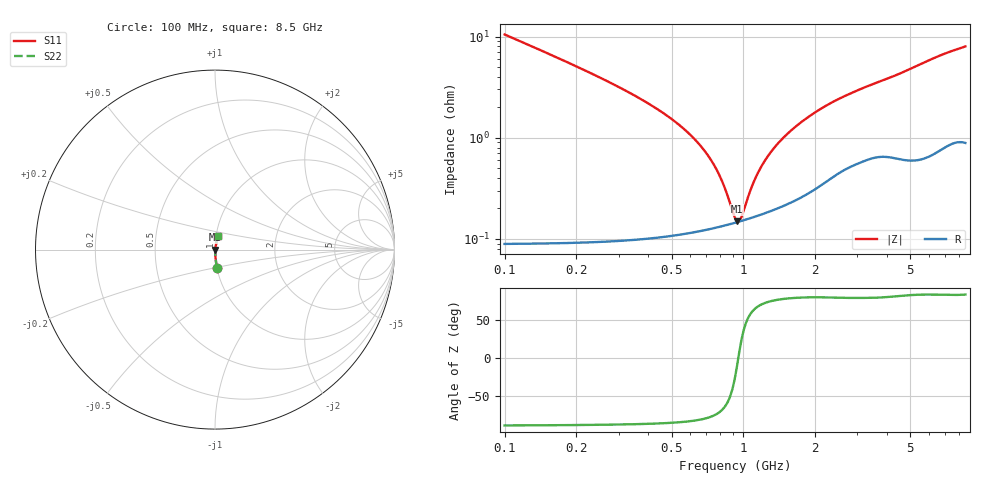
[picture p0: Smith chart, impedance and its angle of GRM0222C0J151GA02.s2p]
!Murata Part Number: GRM0222C0J151GA02
!These Parameters are Measured in Series Mode Connection
!Data Generated on Mar 30, 2021
!  o--ll--o
!Port1  Port2
!  o------o
!Operation Temp=25[degC], DC Bias Voltage=0[V]
!Freq. Start=100[MHz] Stop=9[GHz] 401[Steps]
# Hz S RI R 50
!Freq.(Hz) S11(Real) S11(Imag) S21(Real) S21(Imag) S12(Real) S12(Imag) S22(Real) S22(Imag)
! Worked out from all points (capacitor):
!   401 points, 100 MHz to 8.5 GHz, reference 50 ohm
!   read as one part in series: C = 150 pF near 142 MHz
!   lowest |Z| = 149 mohm at 940 MHz (marker M1)
!   series resonance near 952.3 MHz, so ESL is about 190 pH
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1e8  0.0117 -0.1036  0.9883 0.1036  0.9883 0.1036  0.0117 -0.1036
2.05e8  0.00334 -0.0491  0.9967 0.0491  0.9967 0.0491  0.00334 -0.0491
2.68e8  0.00226 -0.0363  0.9977 0.0363  0.9977 0.0363  0.00226 -0.0363
6.04e8  0.00126 -0.0104  0.9987 0.0104  0.9987 0.0104  0.00126 -0.0104
7.09e8  0.00128 -0.0066  0.9987 0.0066  0.9987 0.0066  0.00128 -0.0066
7.93e8  0.00133 -0.00405  0.9987 0.00405  0.9987 0.00405  0.00133 -0.00405
8.98e8  0.00142 -0.00129  0.9986 0.00129  0.9986 0.00129  0.00142 -0.00129
9.4e8  0.00146 -0.000283  0.9985 0.000283  0.9985 0.000283  0.00146 -0.000283
9.61e8  0.00148 0.000202  0.9985 -0.000202  0.9985 -0.000202  0.00148 0.000202
9.82e8  0.00151 0.000676  0.9985 -0.000676  0.9985 -0.000676  0.00151 0.000676
1.108e9  0.00166 0.00333  0.9983 -0.00333  0.9983 -0.00333  0.00166 0.00333
1.213e9  0.0018 0.00534  0.9982 -0.00534  0.9982 -0.00534  0.0018 0.00534
1.339e9  0.00199 0.00758  0.998 -0.00758  0.998 -0.00758  0.00199 0.00758
1.507e9  0.00227 0.0103  0.9977 -0.0103  0.9977 -0.0103  0.00227 0.0103
1.759e9  0.00279 0.0141  0.9972 -0.0141  0.9972 -0.0141  0.00279 0.0141
2.074e9  0.00362 0.0185  0.9964 -0.0185  0.9964 -0.0185  0.00362 0.0185
2.452e9  0.00482 0.023  0.9952 -0.023  0.9952 -0.023  0.00482 0.023
2.914e9  0.00611 0.0277  0.9939 -0.0277  0.9939 -0.0277  0.00611 0.0277
4.3e9  0.00785 0.04  0.9921 -0.04  0.9921 -0.04  0.00785 0.04
5.707e9  0.00916 0.0543  0.9908 -0.0543  0.9908 -0.0543  0.00916 0.0543
7.114e9  0.0127 0.0672  0.9873 -0.0672  0.9873 -0.0672  0.0127 0.0672
8.5e9  0.0149 0.0775  0.9851 -0.0775  0.9851 -0.0775  0.0149 0.0775
